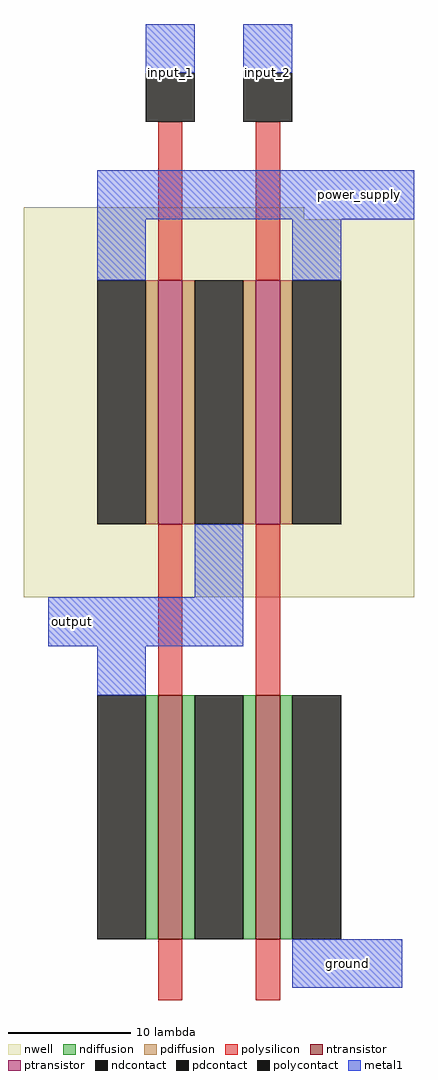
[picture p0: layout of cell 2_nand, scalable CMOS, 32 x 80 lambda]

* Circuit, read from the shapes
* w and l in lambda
.subckt 2_nand input_1 input_2 power_supply output ground
M1 n1 input_1 output VSUBS nfet w=20 l=2
M2 ground input_2 n1 VSUBS nfet w=20 l=2
M3 output input_1 power_supply n2 pfet w=20 l=2
M4 power_supply input_2 output n2 pfet w=20 l=2
.ends

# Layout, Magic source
magic
tech scmos
<< nwell >>
rect -6 26 17 27
rect -6 -5 26 26
<< ntransistor >>
rect 5 -33 7 -13
rect 13 -33 15 -13
<< ptransistor >>
rect 5 1 7 21
rect 13 1 15 21
<< ndiffusion >>
rect 4 -33 5 -13
rect 7 -33 8 -13
rect 12 -33 13 -13
rect 15 -33 16 -13
<< pdiffusion >>
rect 4 1 5 21
rect 7 1 8 21
rect 12 1 13 21
rect 15 1 16 21
<< ndcontact >>
rect 0 -33 4 -13
rect 8 -33 12 -13
rect 16 -33 20 -13
<< pdcontact >>
rect 0 1 4 21
rect 8 1 12 21
rect 16 1 20 21
<< polysilicon >>
rect 5 21 7 34
rect 13 21 15 34
rect 5 -13 7 1
rect 13 -13 15 1
rect 5 -38 7 -33
rect 13 -38 15 -33
<< polycontact >>
rect 4 34 8 38
rect 12 34 16 38
<< metal1 >>
rect 4 38 8 42
rect 12 38 16 42
rect 0 26 26 30
rect 0 21 4 26
rect 16 21 20 26
rect 8 -5 12 1
rect -4 -9 12 -5
rect 0 -13 4 -9
rect 16 -37 25 -33
<< labels >>
rlabel metal1 4 34 8 42 5 input_1
port 1 s
rlabel metal1 12 34 16 42 5 input_2
port 2 s
rlabel metal1 16 -37 25 -33 1 ground
port 5 n
rlabel metal1 17 26 26 30 7 power_supply
port 3 w
rlabel metal1 -4 -9 0 -5 3 output
port 4 e
<< end >>
